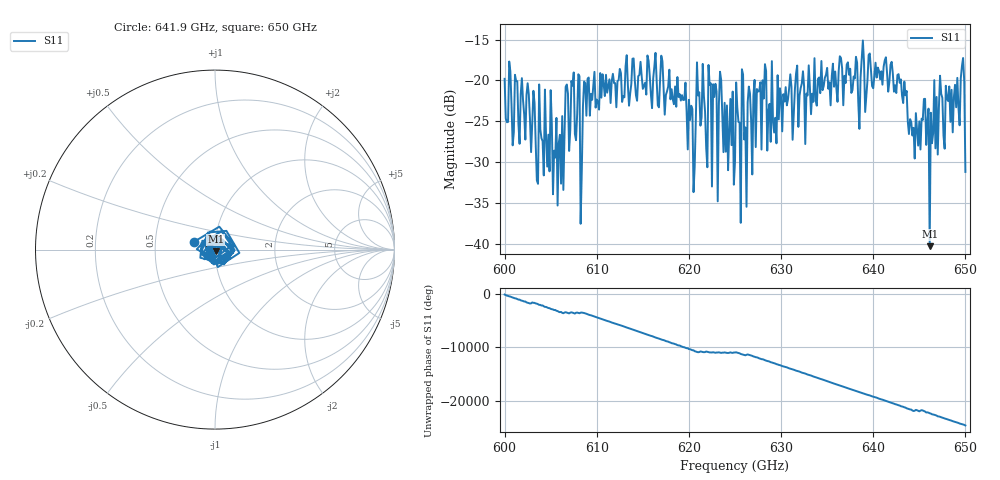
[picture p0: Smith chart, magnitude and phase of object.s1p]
!Created with skrf (http://scikit-rf.org).
# GHz S MA R 50.0
!freq magS11 angS11
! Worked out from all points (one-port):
!   401 points, 600 GHz to 650 GHz, reference 50 ohm
!   lowest |S11| = -40.2 dB at 646.1 GHz (marker M1), VSWR 1.02, Z = 50.4 - j0.899 ohm
!   |S11| at or under -10 dB: start of sweep to end of sweep
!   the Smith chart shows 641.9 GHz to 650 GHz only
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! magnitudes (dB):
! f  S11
! 600 GHz  -19.8
! 602.5 GHz  -20.3
! 605.5 GHz  -29.4
! 606.2 GHz  -24.4
! 606.8 GHz  -20.5
! 607.4 GHz  -20.6
! 608.5 GHz  -23.2
! 608.9 GHz  -24.3
! 612.5 GHz  -18.6
! 618.8 GHz  -19.6
! 620.4 GHz  -23.5
! 621.1 GHz  -21.4
! 624 GHz  -28.7
! 625 GHz  -29.9
! 626.2 GHz  -35.4
! 628.1 GHz  -22.2
! 629.4 GHz  -24.6
! 631.2 GHz  -27.3
! 637.5 GHz  -18.6
! 641.2 GHz  -17.5
! 643.8 GHz  -25.0
! 644.6 GHz  -24.0
! 645.8 GHz  -27.9
! 645.9 GHz  -25.1
! 646.1 GHz  -40.2
! 647.1 GHz  -23.3
! 649.6 GHz  -18.3
! 650 GHz  -31.2
